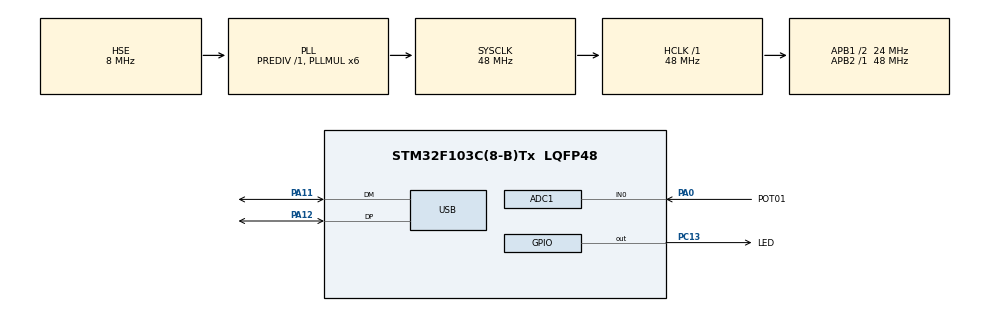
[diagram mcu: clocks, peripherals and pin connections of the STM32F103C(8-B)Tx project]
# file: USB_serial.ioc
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ADC1.Channel-0\#ChannelRegularConversion=ADC_CHANNEL_0
ADC1.ContinuousConvMode=ENABLE
ADC1.NbrOfConversionFlag=1
ADC1.Rank-0\#ChannelRegularConversion=1
ADC1.SamplingTime-0\#ChannelRegularConversion=ADC_SAMPLETIME_1CYCLE_5
ADC1.master=1
Mcu.Family=STM32F1
Mcu.Name=STM32F103C(8-B)Tx
Mcu.Package=LQFP48
NVIC.ADC1_2_IRQn=true\:0\:0\:false\:false\:true\:true\:true\:true
NVIC.PriorityGroup=NVIC_PRIORITYGROUP_4
NVIC.USB_LP_CAN1_RX0_IRQn=true\:0\:0\:false\:false\:true\:false\:true\:true
PA0-WKUP.GPIO_Label=POT01
PA0-WKUP.Signal=ADCx_IN0
PA11.Mode=Device
PA11.Signal=USB_DM
PA12.Mode=Device
PA12.Signal=USB_DP
PA13.Mode=Serial_Wire
PA13.Signal=SYS_JTMS-SWDIO
PA14.Mode=Serial_Wire
PA14.Signal=SYS_JTCK-SWCLK
PC13-TAMPER-RTC.GPIO_Label=LED
PC13-TAMPER-RTC.Signal=GPIO_Output
PD0-OSC_IN.Mode=HSE-External-Oscillator
PD0-OSC_IN.Signal=RCC_OSC_IN
PD1-OSC_OUT.Mode=HSE-External-Oscillator
PD1-OSC_OUT.Signal=RCC_OSC_OUT
ProjectManager.HeapSize=0x200
ProjectManager.StackSize=0x400
ProjectManager.TargetToolchain=STM32CubeIDE
RCC.ADCPresc=RCC_ADCPCLK2_DIV4
RCC.AHBFreq_Value=48000000
RCC.APB1CLKDivider=RCC_HCLK_DIV2
RCC.APB1Freq_Value=24000000
RCC.APB1TimFreq_Value=48000000
RCC.APB2Freq_Value=48000000
RCC.APB2TimFreq_Value=48000000
RCC.HCLKFreq_Value=48000000
RCC.PLLMUL=RCC_PLL_MUL6
RCC.SYSCLKFreq_VALUE=48000000
RCC.SYSCLKSource=RCC_SYSCLKSOURCE_PLLCLK
RCC.USBFreq_Value=48000000
SH.ADCx_IN0.0=ADC1_IN0,IN0
USB_DEVICE.CLASS_NAME_FS=CDC
USB_DEVICE.VirtualMode=Cdc
USB_DEVICE.VirtualModeFS=Cdc_FS
VP_USB_DEVICE_VS_USB_DEVICE_CDC_FS.Mode=CDC_FS
board=custom

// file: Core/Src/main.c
/* USER CODE BEGIN Header */
/**
  ******************************************************************************
  * @file           : main.c
  * @brief          : Main program body
  ******************************************************************************
  * @attention
  *
  * Copyright (c) 2024 STMicroelectronics.
  * All rights reserved.
  *
  * This software is licensed under terms that can be found in the LICENSE file
  * in the root directory of this software component.
  * If no LICENSE file comes with this software, it is provided AS-IS.
  *
  ******************************************************************************
  */
/* USER CODE END Header */
#include "main.h"
#include "adc.h"
#include "usb_device.h"
#include "gpio.h"

/* USER CODE BEGIN Includes */
#include "usbd_cdc_if.h"
#include "string.h"
#include "stdbool.h"
/* USER CODE END Includes */

/* USER CODE BEGIN PD */
#define NUM_ADC_CONV 1
/* USER CODE END PD */

/* USER CODE BEGIN PV */
uint16_t ADC_VAL[3] = {0};
uint8_t adc_index = 0;
bool ADC_complete = false;
/* USER CODE END PV */

void SystemClock_Config(void);
/* USER CODE BEGIN PFP */
void SystemClock_Config(void);
void HAL_ADC_ConvCpltCallback(ADC_HandleTypeDef* hadc);
void ADC_Select_CH0 (void);
void ADC_Select_CH1 (void);
void ADC_Select_CH2 (void);
/* USER CODE END PFP */

int main(void)
{

  /* MCU Configuration--------------------------------------------------------*/

  /* Reset of all peripherals, Initializes the Flash interface and the Systick. */
  HAL_Init();

  /* Configure the system clock */
  SystemClock_Config();

  /* Initialize all configured peripherals */
  MX_GPIO_Init();
  MX_USB_DEVICE_Init();
  MX_ADC1_Init();
  /* USER CODE BEGIN 2 */
  ADC_Select_CH0();
  HAL_ADC_Start_IT(&hadc1);
  /* USER CODE END 2 */

  /* Infinite loop */
  /* USER CODE BEGIN WHILE */
  while (1)
  {
	  if(ADC_complete) {
	  		ADC_VAL[adc_index] = HAL_ADC_GetValue(&hadc1);
	  		adc_index++;

	  		if(adc_index > NUM_ADC_CONV) {
	  			adc_index = 0;
	  		}

	  		ADC_complete = false;

	  		switch(adc_index) {
	  			case 0:
	  				ADC_Select_CH0();
	  				break;
	  			case 1:
	  				ADC_Select_CH1();
	  				break;
	  			case 2:
	  				ADC_Select_CH2();
	  				break;
	  			default:
	  				break;
	  		}
	  		HAL_ADC_Start_IT(&hadc1);
	  CDC_Transmit_FS(0, 1);
	  HAL_GPIO_TogglePin(LED_GPIO_Port, LED_Pin);
	  HAL_Delay(300);

    /* USER CODE END WHILE */

  }
}

void SystemClock_Config(void)
{
  RCC_OscInitTypeDef RCC_OscInitStruct = {0};
  RCC_ClkInitTypeDef RCC_ClkInitStruct = {0};
  RCC_PeriphCLKInitTypeDef PeriphClkInit = {0};

  /** Initializes the RCC Oscillators according to the specified parameters
  * in the RCC_OscInitTypeDef structure.
  */
  RCC_OscInitStruct.OscillatorType = RCC_OSCILLATORTYPE_HSE;
  RCC_OscInitStruct.HSEState = RCC_HSE_ON;
  RCC_OscInitStruct.HSEPredivValue = RCC_HSE_PREDIV_DIV1;
  RCC_OscInitStruct.HSIState = RCC_HSI_ON;
  RCC_OscInitStruct.PLL.PLLState = RCC_PLL_ON;
  RCC_OscInitStruct.PLL.PLLSource = RCC_PLLSOURCE_HSE;
  RCC_OscInitStruct.PLL.PLLMUL = RCC_PLL_MUL6;
  if (HAL_RCC_OscConfig(&RCC_OscInitStruct) != HAL_OK)
  {
    Error_Handler();
  }

  /** Initializes the CPU, AHB and APB buses clocks
  */
  RCC_ClkInitStruct.ClockType = RCC_CLOCKTYPE_HCLK|RCC_CLOCKTYPE_SYSCLK
                              |RCC_CLOCKTYPE_PCLK1|RCC_CLOCKTYPE_PCLK2;
  RCC_ClkInitStruct.SYSCLKSource = RCC_SYSCLKSOURCE_PLLCLK;
  RCC_ClkInitStruct.AHBCLKDivider = RCC_SYSCLK_DIV1;
  RCC_ClkInitStruct.APB1CLKDivider = RCC_HCLK_DIV2;
  RCC_ClkInitStruct.APB2CLKDivider = RCC_HCLK_DIV1;

  if (HAL_RCC_ClockConfig(&RCC_ClkInitStruct, FLASH_LATENCY_1) != HAL_OK)
  {
    Error_Handler();
  }
  PeriphClkInit.PeriphClockSelection = RCC_PERIPHCLK_ADC|RCC_PERIPHCLK_USB;
  PeriphClkInit.AdcClockSelection = RCC_ADCPCLK2_DIV4;
  PeriphClkInit.UsbClockSelection = RCC_USBCLKSOURCE_PLL;
  if (HAL_RCCEx_PeriphCLKConfig(&PeriphClkInit) != HAL_OK)
  {
    Error_Handler();
  }
}

/* USER CODE BEGIN 4 */
void HAL_ADC_ConvCpltCallback(ADC_HandleTypeDef* hadc) {
	ADC_complete = true;
}

void ADC_Select_CH0 (void)
{
	ADC_ChannelConfTypeDef sConfig = {0};
	  /** Configure for the selected ADC regular channel its corresponding rank in the sequencer and its sample time.
	  */
	  sConfig.Channel = ADC_CHANNEL_0;
	  sConfig.Rank = 1;
	  sConfig.SamplingTime = ADC_SAMPLETIME_1CYCLE_5;
	  if (HAL_ADC_ConfigChannel(&hadc1, &sConfig) != HAL_OK)
	  {
	    Error_Handler();
	  }
}

void ADC_Select_CH1 (void)
{
	ADC_ChannelConfTypeDef sConfig = {0};
	  /** Configure for the selected ADC regular channel its corresponding rank in the sequencer and its sample time.
	  */
	  sConfig.Channel = ADC_CHANNEL_1;
	  sConfig.Rank = 1;
	  sConfig.SamplingTime = ADC_SAMPLETIME_1CYCLE_5;
	  if (HAL_ADC_ConfigChannel(&hadc1, &sConfig) != HAL_OK)
	  {
	    Error_Handler();
	  }
}

void ADC_Select_CH2 (void)
{
	ADC_ChannelConfTypeDef sConfig = {0};
	  /** Configure for the selected ADC regular channel its corresponding rank in the sequencer and its sample time.
	  */
	  sConfig.Channel = ADC_CHANNEL_2;
	  sConfig.Rank = 1;
	  sConfig.SamplingTime = ADC_SAMPLETIME_1CYCLE_5;
	  if (HAL_ADC_ConfigChannel(&hadc1, &sConfig) != HAL_OK)
	  {
	    Error_Handler();
	  }
}
/* USER CODE END 4 */

void Error_Handler(void)
{
  __disable_irq();
  while (1)
  {
  }
}
